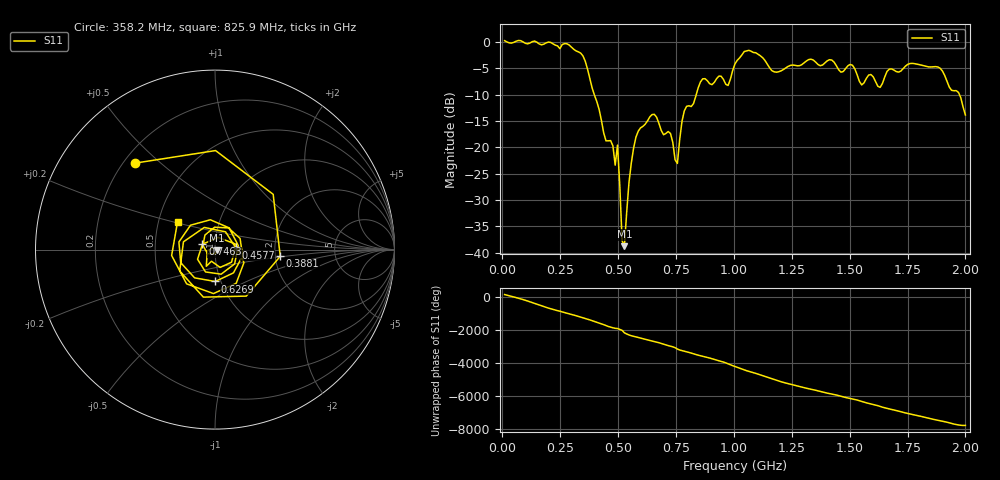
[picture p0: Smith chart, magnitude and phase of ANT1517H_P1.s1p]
!Created with skrf (http://scikit-rf.org).
# Hz S RI R 50.0
!freq ReS11 ImS11
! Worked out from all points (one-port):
!   201 points, 10 MHz to 2 GHz, reference 50 ohm
!   lowest |S11| = -38.8 dB at 527.4 MHz (marker M1), VSWR 1.02, Z = 51.1 - j0.415 ohm
!   |S11| at or under -10 dB: 397.3 MHz to 837.6 MHz (440.4 MHz wide, 71.3 % of centre); 1.974 GHz to end of sweep
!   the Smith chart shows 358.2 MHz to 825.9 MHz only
!   S11 on the Smith chart (normalised r, x): 358.2 MHz: 0.24, +0.41; 388.1 MHz: 2.13, -0.18; 457.8 MHz: 1.26, +0.03; 626.9 MHz: 0.94, -0.35; 746.3 MHz: 0.87, +0.05; 825.9 MHz: 0.63, +0.21
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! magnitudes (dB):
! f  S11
! 10 MHz  0.3
! 258.8 MHz  -0.5
! 358.2 MHz  -3.6
! 388.1 MHz  -8.7
! 457.8 MHz  -18.8
! 487.6 MHz  -23.4
! 497.6 MHz  -19.6
! 507.5 MHz  -27.3
! 517.5 MHz  -37.7
! 527.4 MHz  -38.8
! 547.3 MHz  -26.6
! 567.2 MHz  -20.1
! 626.9 MHz  -15.0
! 726.4 MHz  -17.4
! 746.3 MHz  -22.4
! 756.2 MHz  -23.1
! 786.1 MHz  -13.1
! 825.9 MHz  -11.7
! 865.7 MHz  -7.0
! 975.1 MHz  -8.3
! 1.005 GHz  -4.1
! 1.065 GHz  -1.6
! 1.254 GHz  -4.4
! 1.502 GHz  -4.3
! 1.632 GHz  -8.6
! 1.751 GHz  -4.2
! 1.891 GHz  -5.0
! 2 GHz  -13.9
